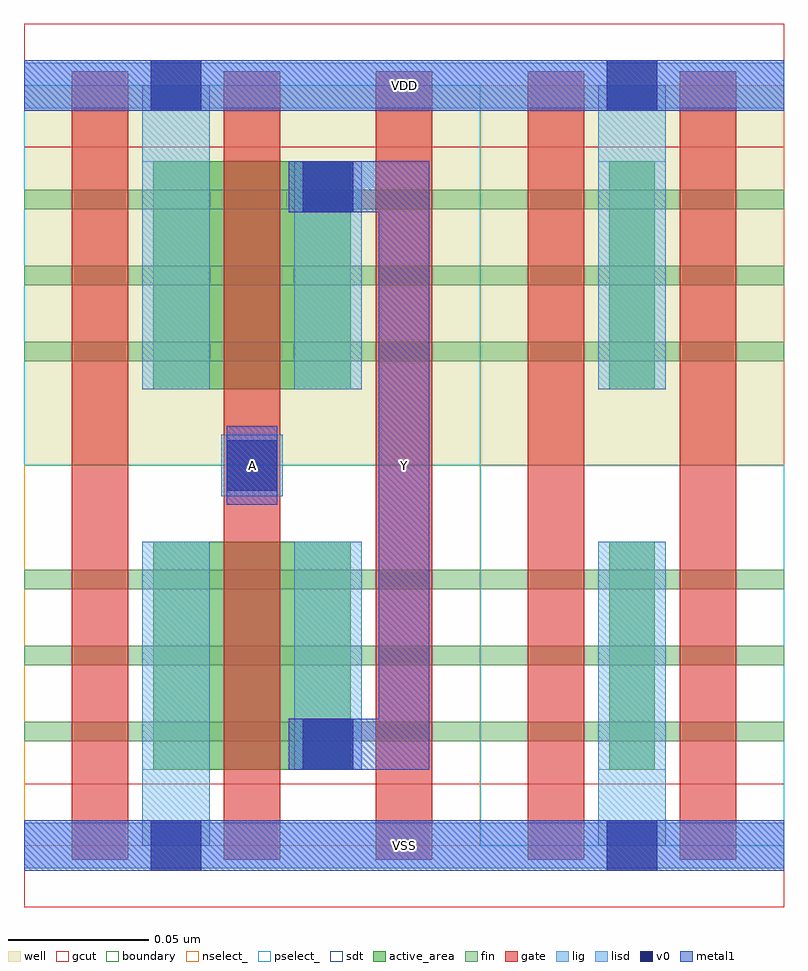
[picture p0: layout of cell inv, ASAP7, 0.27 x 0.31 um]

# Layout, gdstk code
import gdstk
lib = gdstk.Library(unit=1e-6, precision=2.5e-10)
def R(c, l, rs):  # rectangles x0, y0, x1, y1
    for r in rs: c.add(gdstk.rectangle(r[:2], r[2:], *l))
def A(c, l, x, y, w, h, nx, ny, dx, dy):  # array of equal rectangles
    R(c, l, [(x+i*dx, y+j*dy, x+i*dx+w, y+j*dy+h) for i in range(nx) for j in range(ny)])
well = (1, 0)
fin = (2, 0)
gate = (7, 0)
gcut = (10, 0)
active_area = (11, 0)
nselect_ = (12, 0)
pselect_ = (13, 0)
lig = (16, 0)
lisd = (17, 0)
v0 = (18, 0)
metal1 = (19, 0)
sdt = (88, 0)
boundary = (100, 0)

inv = lib.new_cell('inv')
R(inv, well, [(0,0.135,0.162,0.27), (0,0.135,0.27,0.27), (0.162,0.135,0.27,0.27)])
A(inv, fin, 0, 0.037, 0.162, 0.007, 1, 3, 0, 0.027)
A(inv, fin, 0.162, 0.037, 0.108, 0.007, 1, 3, 0, 0.027)
A(inv, fin, 0, 0.172, 0.162, 0.007, 1, 3, 0, 0.027)
A(inv, fin, 0.162, 0.172, 0.108, 0.007, 1, 3, 0, 0.027)
A(inv, gate, 0.017, -0.005, 0.02, 0.14, 5, 2, 0.054, 0.14)
R(inv, gcut, [(0,-0.022,0.27,0.022), (0,0.248,0.27,0.292)])
R(inv, active_area, [(0.046,0.027,0.116,0.108), (0.208,0.027,0.224,0.108), (0.046,0.162,0.116,0.243), (0.208,0.162,0.224,0.243)])
R(inv, nselect_, [(0,0,0.162,0.135), (0.162,0.135,0.27,0.27)])
R(inv, pselect_, [(0.162,0,0.27,0.135), (0,0.135,0.162,0.27)])
R(inv, lig, [(0,-0.008,0.27,0.008), (0.07,0.124,0.092,0.146), (0,0.262,0.27,0.278)])
R(inv, lisd, [(0.042,0,0.066,0.108), (0.204,0,0.228,0.108), (0.042,0.027,0.066,0.108), (0.096,0.027,0.12,0.108), (0.204,0.027,0.228,0.108), (0.042,0.162,0.066,0.243), (0.042,0.162,0.066,0.27), (0.096,0.162,0.12,0.243), (0.204,0.162,0.228,0.243), (0.204,0.162,0.228,0.27)])
R(inv, v0, [(0.045,-0.009,0.063,0.009), (0.207,-0.009,0.225,0.009), (0.099,0.027,0.117,0.045), (0.072,0.126,0.09,0.144), (0.099,0.225,0.117,0.243), (0.045,0.261,0.063,0.279), (0.207,0.261,0.225,0.279)])
R(inv, metal1, [(0,-0.009,0.27,0.009), (0.04,-0.009,0.068,0.009), (0.202,-0.009,0.23,0.009), (0.094,0.027,0.122,0.045), (0.094,0.027,0.144,0.045), (0.126,0.027,0.144,0.243), (0.072,0.121,0.09,0.149), (0.094,0.225,0.122,0.243), (0.094,0.225,0.144,0.243), (0,0.261,0.27,0.279), (0.04,0.261,0.068,0.279), (0.202,0.261,0.23,0.279)])
R(inv, sdt, [(0.042,0.027,0.066,0.108), (0.096,0.027,0.12,0.108), (0.204,0.027,0.228,0.108), (0.042,0.162,0.066,0.243), (0.096,0.162,0.12,0.243), (0.204,0.162,0.228,0.243)])
R(inv, boundary, [(0,0,0.27,0.27)])
inv.add(gdstk.Label('A', (0.081,0.135), layer=19, texttype=251))
inv.add(gdstk.Label('Y', (0.135,0.135), layer=19, texttype=251))
inv.add(gdstk.Label('VDD', (0.135,0.27), layer=19, texttype=251))
inv.add(gdstk.Label('VSS', (0.135,0), layer=19, texttype=251))

lib.write_gds('inv.gds')
